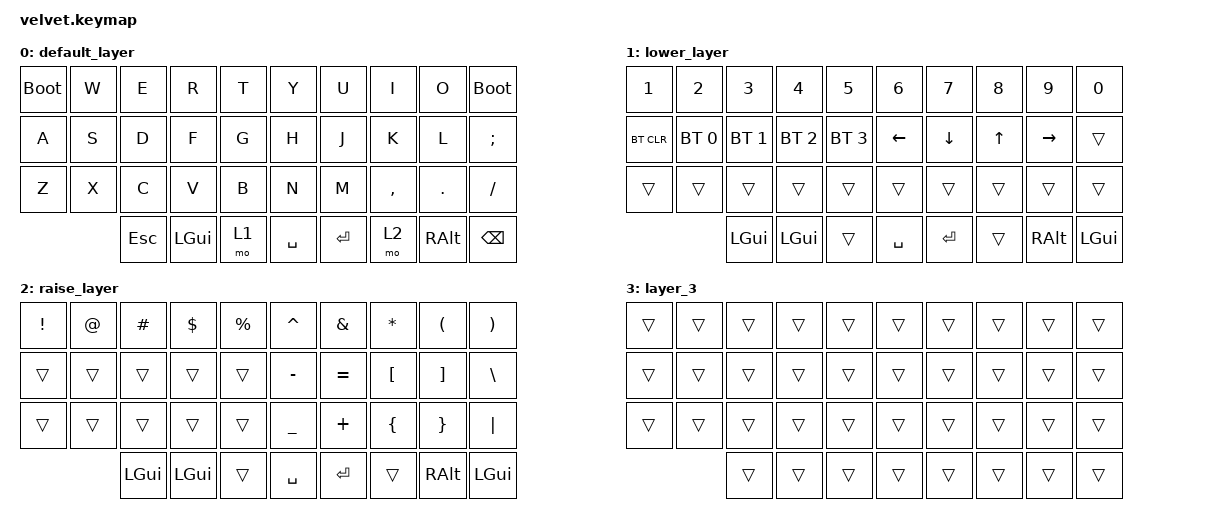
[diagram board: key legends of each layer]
#include <behaviors.dtsi>
#include <dt-bindings/zmk/keys.h>
#include <dt-bindings/zmk/bt.h>

/ {
        behaviors {
        lh_pht: left_positional_hold_tap {
            compatible = "zmk,behavior-hold-tap";
            #binding-cells = <2>;
            flavor = "tap-unless-interrupted";
            tapping-term-ms = <100>;                        // <---[[produces tap if held longer than tapping-term-ms]]
            quick-tap-ms = <200>;
            bindings = <&kp>, <&kp>;

            hold-trigger-key-positions = <5 6 7 8 9 10>;    // <---[[right-hand keys]]
        };
    };
    
        keymap {
                compatible = "zmk,keymap";

                default_layer {
            // -----------------------------------------------------------------------------------------
            // |  Q  |  W  |  E  |  R  |  T  |   |  Y  |  U   |  I  |  O  |  P  |
            // |  A  |  S  |  D  |  F  |  G  |   |  H  |  J   |  K  |  L  |  ;  |
            // |  Z  |  X  |  C  |  V  |  B  |   |  N  |  M   |  ,  |  .  |  /  |
            //                    | GUI | LWR | SPC |   | ENT | RSE  | ALT |

            bindings = <
&bootloader  &kp W  &kp E       &kp R     &kp T  &kp Y        &kp U    &kp I      &kp O     &bootloader
&kp A  &kp S  &kp D       &kp F     &kp G  &kp H        &kp J    &kp K      &kp L     &kp SEMI
&kp Z  &kp X  &kp C       &kp V     &kp B  &kp N        &kp M    &kp COMMA  &kp DOT   &kp FSLH
              &kp ESCAPE  &kp LGUI  &mo 1  &kp SPACE    &kp RET  &mo 2      &kp RALT  &kp BACKSPACE
            >;
        };

        lower_layer {
            // -----------------------------------------------------------------------------------------
            // |  TAB |  1  |  2  |  3  |  4  |  5  |   |  6  |  7  |  8  |  9  |  0  | BSPC |
            // | BTCLR| BT1 | BT2 | BT3 | BT4 | BT5 |   | LFT | DWN |  UP | RGT |     |      |
            // | SHFT |     |     |     |     |     |   |     |     |     |     |     |      |
            //                    | GUI |     | SPC |   | ENT |     | ALT |

            bindings = <
&kp N1      &kp N2        &kp N3        &kp N4        &kp N5        &kp N6       &kp N7    &kp N8  &kp N9     &kp N0
&bt BT_CLR  &bt BT_SEL 0  &bt BT_SEL 1  &bt BT_SEL 2  &bt BT_SEL 3  &kp LEFT     &kp DOWN  &kp UP  &kp RIGHT  &trans
&trans      &trans        &trans        &trans        &trans        &trans       &trans    &trans  &trans     &trans
                          &kp LGUI      &kp LGUI      &trans        &kp SPACE    &kp RET   &trans  &kp RALT   &kp LGUI
            >;
        };

        raise_layer {
            // -----------------------------------------------------------------------------------------
            // |  TAB |  !  |  @  |  #  |  $  |  %  |   |  ^  |  &  |  *  |  (  |  )  | BSPC |
            // | CTRL |     |     |     |     |     |   |  -  |  =  |  [  |  ]  |  \  |  `   |
            // | SHFT |     |     |     |     |     |   |  _  |  +  |  {  |  }  | "|" |  ~   |
            //                    | GUI |     | SPC |   | ENT |     | ALT |

            bindings = <
&kp EXCL  &kp AT  &kp HASH  &kp DLLR  &kp PRCNT  &kp CARET    &kp AMPS   &kp ASTRK  &kp LPAR  &kp RPAR
&trans    &trans  &trans    &trans    &trans     &kp MINUS    &kp EQUAL  &kp LBKT   &kp RBKT  &kp BSLH
&trans    &trans  &trans    &trans    &trans     &kp UNDER    &kp PLUS   &kp LBRC   &kp RBRC  &kp PIPE
                  &kp LGUI  &kp LGUI  &trans     &kp SPACE    &kp RET    &trans     &kp RALT  &kp LGUI
            >;
        };

        layer_3 {
            bindings = <
&trans  &trans  &trans  &trans  &trans  &trans    &trans  &trans  &trans  &trans
&trans  &trans  &trans  &trans  &trans  &trans    &trans  &trans  &trans  &trans
&trans  &trans  &trans  &trans  &trans  &trans    &trans  &trans  &trans  &trans
                &trans  &trans  &trans  &trans    &trans  &trans  &trans  &trans
            >;
        };
    };
};
